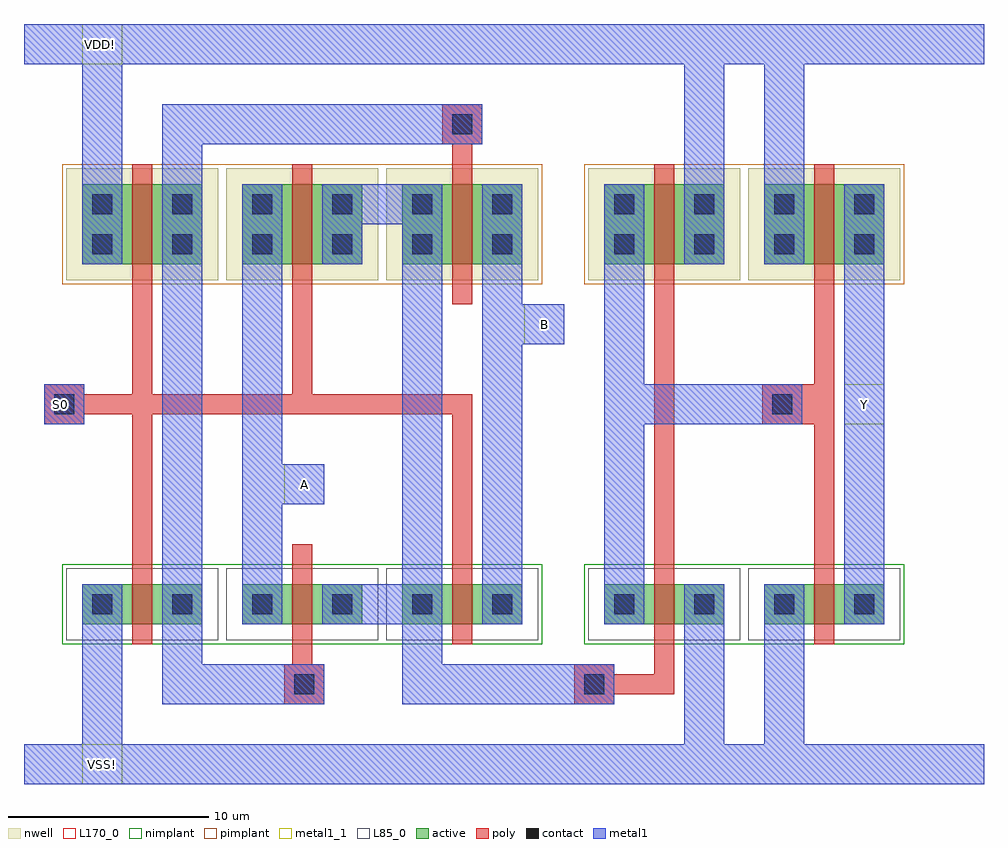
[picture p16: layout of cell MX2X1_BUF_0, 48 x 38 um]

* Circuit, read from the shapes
.subckt MX2X1_BUF_0 A B S0 VDD! VSS! Y
M1 n1 S0 VSS! VSUBS nfet w=2u l=1u
M2 n2 n1 A VSUBS nfet w=2u l=1u
M3 B S0 n2 VSUBS nfet w=2u l=1u
M4 VSS! n2 n3 VSUBS nfet w=2u l=1u
M5 Y n3 VSS! VSUBS nfet w=2u l=1u
M6 n1 S0 VDD! n4 pfet w=4u l=1u
M7 n2 S0 A n5 pfet w=4u l=1u
M8 B n1 n2 n6 pfet w=4u l=1u
M9 VDD! n2 n3 n7 pfet w=4u l=1u
M10 Y n3 VDD! n8 pfet w=4u l=1u
.ends

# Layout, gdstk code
from math import pi, radians
import gdstk
lib = gdstk.Library(unit=1e-6, precision=5e-10)
def R(c, l, rs):  # rectangles x0, y0, x1, y1
    for r in rs: c.add(gdstk.rectangle(r[:2], r[2:], *l))
active = (1, 0)
nwell = (2, 0)
poly = (3, 0)
nimplant = (4, 0)
pimplant = (5, 0)
contact = (6, 0)
metal1 = (7, 0)
metal1_1 = (7, 1)
L85_0 = (85, 0)
L170_0 = (170, 0)

nmos3_cdns_641374622490 = lib.new_cell('nmos3_CDNS_641374622490')
R(nmos3_cdns_641374622490, active, [(1,1,7,3)])
R(nmos3_cdns_641374622490, poly, [(3.5,0,4.5,5), (3.6,3.5,4.4,3.9)])
R(nmos3_cdns_641374622490, nimplant, [(0,0,8,4)])
R(nmos3_cdns_641374622490, contact, [(1.5,1.5,2.5,2.5), (5.5,1.5,6.5,2.5), (5.5,1.5,6.5,2.5)])
R(nmos3_cdns_641374622490, metal1, [(1,1,3,3), (5,1,7,3), (1.3,1.3,2.7,2.7), (5.3,1.3,6.7,2.7)])
R(nmos3_cdns_641374622490, L85_0, [(0.2,0.2,7.8,3.8)])
R(nmos3_cdns_641374622490, L170_0, [(4.5,1,7,3)])

pmos3_cdns_641374622492 = lib.new_cell('pmos3_CDNS_641374622492')
R(pmos3_cdns_641374622492, active, [(1,1,7,5)])
R(pmos3_cdns_641374622492, nwell, [(0.2,0.2,7.8,5.8)])
R(pmos3_cdns_641374622492, poly, [(3.5,0,4.5,7), (3.6,5.6,4.4,5.9)])
R(pmos3_cdns_641374622492, pimplant, [(0,0,8,6)])
R(pmos3_cdns_641374622492, contact, [(1.5,1.5,2.5,2.5), (5.5,1.5,6.5,2.5), (5.5,1.5,6.5,2.5), (1.5,3.5,2.5,4.5), (5.5,3.5,6.5,4.5)])
R(pmos3_cdns_641374622492, metal1, [(1,1,3,5), (5,1,7,5), (1.3,1.3,2.7,2.7), (5.3,1.3,6.7,2.7)])
R(pmos3_cdns_641374622492, L170_0, [(4.5,1,7,5)])

m1_po_cdns_641374622490 = lib.new_cell('M1_PO_CDNS_641374622490')
R(m1_po_cdns_641374622490, poly, [(-1,-1,1,1)])
R(m1_po_cdns_641374622490, contact, [(-0.5,-0.5,0.5,0.5)])
R(m1_po_cdns_641374622490, metal1, [(-1,-1,1,1)])

mx2x1_buf_0 = lib.new_cell('MX2X1_BUF_0')
R(mx2x1_buf_0, poly, [(38.1,17,39.6,19)])
R(mx2x1_buf_0, metal1, [(10.9,13,15,15), (22.9,21,27,23)])
R(mx2x1_buf_0, metal1_1, [(2.9,-1,4.9,1), (13,13,15,15), (1,17,3,19), (41,17,43,19), (25,21,27,23), (2.9,35,4.9,37)])
mx2x1_buf_0.add(gdstk.FlexPath([(40,24.4),(40,9.1)], 1, ends="flush", simple_path=True, layer=3, datatype=0))  # poly
mx2x1_buf_0.add(gdstk.FlexPath([(29,4),(32,4)], 1, ends=(0, 0.5), simple_path=True, layer=3, datatype=0))  # poly
mx2x1_buf_0.add(gdstk.FlexPath([(32,4),(32,24.8)], 1, ends=(0.5, 0), simple_path=True, layer=3, datatype=0))  # poly
mx2x1_buf_0.add(gdstk.FlexPath([(5.9,18),(5.9,24.6)], 1, ends="extended", simple_path=True, layer=3, datatype=0))  # poly
mx2x1_buf_0.add(gdstk.FlexPath([(21.9,32),(21.9,24.1)], 1, ends="flush", simple_path=True, layer=3, datatype=0))  # poly
mx2x1_buf_0.add(gdstk.FlexPath([(14,4),(13.9,4)], 1, ends=(0, 0.5), simple_path=True, layer=3, datatype=0))  # poly
mx2x1_buf_0.add(gdstk.FlexPath([(13.9,4),(13.9,9.9)], 1, ends=(0.5, 0), simple_path=True, layer=3, datatype=0))  # poly
mx2x1_buf_0.add(gdstk.FlexPath([(1.8,18),(5.9,18)], 1, ends="extended", simple_path=True, layer=3, datatype=0))  # poly
mx2x1_buf_0.add(gdstk.FlexPath([(13.9,24.4),(13.9,18)], 1, ends=(0, 0.5), simple_path=True, layer=3, datatype=0))  # poly
mx2x1_buf_0.add(gdstk.FlexPath([(21.9,18),(21.9,9.9)], 1, ends=(0.5, 0), simple_path=True, layer=3, datatype=0))  # poly
mx2x1_buf_0.add(gdstk.FlexPath([(13.9,18),(21.9,18)], 1, ends="extended", simple_path=True, layer=3, datatype=0))  # poly
mx2x1_buf_0.add(gdstk.FlexPath([(5.9,9.5),(5.9,18)], 1, ends=(0, 0.5), simple_path=True, layer=3, datatype=0))  # poly
mx2x1_buf_0.add(gdstk.FlexPath([(5.9,24.6),(5.5,24.6)], 1, ends=(0.5, 0), simple_path=True, layer=3, datatype=0))  # poly
mx2x1_buf_0.add(gdstk.FlexPath([(5.9,18),(13.9,18)], 1, ends="extended", simple_path=True, layer=3, datatype=0))  # poly
mx2x1_buf_0.add(gdstk.FlexPath([(19.9,4),(29.5,4)], 2, ends=(1, 0), simple_path=True, layer=7, datatype=0))  # metal1
mx2x1_buf_0.add(gdstk.FlexPath([(30,18),(37.9,18)], 2, ends=(1, 0), simple_path=True, layer=7, datatype=0))  # metal1
mx2x1_buf_0.add(gdstk.FlexPath([(30,18),(30,28.7)], 2, ends=(1, 0), simple_path=True, layer=7, datatype=0))  # metal1
mx2x1_buf_0.add(gdstk.FlexPath([(42,7.3),(42,28.7)], 2, ends="flush", simple_path=True, layer=7, datatype=0))  # metal1
mx2x1_buf_0.add(gdstk.FlexPath([(38,8.7),(38,0)], 2, ends=(0, 1), simple_path=True, layer=7, datatype=0))  # metal1
mx2x1_buf_0.add(gdstk.FlexPath([(38,27.3),(38,36)], 2, ends=(0, 1), simple_path=True, layer=7, datatype=0))  # metal1
mx2x1_buf_0.add(gdstk.FlexPath([(30,7.3),(30,18)], 2, ends=(0, 1), simple_path=True, layer=7, datatype=0))  # metal1
mx2x1_buf_0.add(gdstk.FlexPath([(34,8.7),(34,0)], 2, ends=(0, 1), simple_path=True, layer=7, datatype=0))  # metal1
mx2x1_buf_0.add(gdstk.FlexPath([(19.9,8),(19.9,4)], 2, ends="extended", simple_path=True, layer=7, datatype=0))  # metal1
mx2x1_buf_0.add(gdstk.FlexPath([(34,27.3),(34,36)], 2, ends=(0, 1), simple_path=True, layer=7, datatype=0))  # metal1
mx2x1_buf_0.add(gdstk.FlexPath([(23.9,7.3),(23.9,28.7)], 2, ends="flush", simple_path=True, layer=7, datatype=0))  # metal1
mx2x1_buf_0.add(gdstk.FlexPath([(19.9,28),(20.6,28)], 2, ends=(1, 0), simple_path=True, layer=7, datatype=0))  # metal1
mx2x1_buf_0.add(gdstk.FlexPath([(15.2,8),(20.6,8)], 2, ends="flush", simple_path=True, layer=7, datatype=0))  # metal1
mx2x1_buf_0.add(gdstk.FlexPath([(19.9,28),(19.9,28.7)], 2, ends=(1, 0), simple_path=True, layer=7, datatype=0))  # metal1
mx2x1_buf_0.add(gdstk.FlexPath([(19.9,8),(19.9,28)], 2, ends=(0, 1), simple_path=True, layer=7, datatype=0))  # metal1
mx2x1_buf_0.add(gdstk.FlexPath([(7.9,32),(21.9,32)], 2, ends=(1, 0), simple_path=True, layer=7, datatype=0))  # metal1
mx2x1_buf_0.add(gdstk.FlexPath([(7.9,27.3),(7.9,32)], 2, ends=(0, 1), simple_path=True, layer=7, datatype=0))  # metal1
mx2x1_buf_0.add(gdstk.FlexPath([(7.9,4),(14,4)], 2, ends=(1, 0), simple_path=True, layer=7, datatype=0))  # metal1
mx2x1_buf_0.add(gdstk.FlexPath([(7.9,8.7),(7.9,4)], 2, ends=(0, 1), simple_path=True, layer=7, datatype=0))  # metal1
mx2x1_buf_0.add(gdstk.FlexPath([(15.2,28),(19.9,28)], 2, ends=(0, 1), simple_path=True, layer=7, datatype=0))  # metal1
mx2x1_buf_0.add(gdstk.FlexPath([(11.9,28.7),(11.9,7.3)], 2, ends="flush", simple_path=True, layer=7, datatype=0))  # metal1
mx2x1_buf_0.add(gdstk.FlexPath([(7.9,7.3),(7.9,28.7)], 2, ends="flush", simple_path=True, layer=7, datatype=0))  # metal1
mx2x1_buf_0.add(gdstk.FlexPath([(0,36),(3.9,36)], 2, ends=(0, 1), simple_path=True, layer=7, datatype=0))  # metal1
mx2x1_buf_0.add(gdstk.FlexPath([(3.9,27.3),(3.9,36)], 2, ends=(0, 1), simple_path=True, layer=7, datatype=0))  # metal1
mx2x1_buf_0.add(gdstk.FlexPath([(0,0),(3.9,0)], 2, ends=(0, 1), simple_path=True, layer=7, datatype=0))  # metal1
mx2x1_buf_0.add(gdstk.FlexPath([(3.9,8.7),(3.9,0)], 2, ends=(0, 1), simple_path=True, layer=7, datatype=0))  # metal1
mx2x1_buf_0.add(gdstk.FlexPath([(3.9,0),(48,0)], 2, ends=(1, 0), simple_path=True, layer=7, datatype=0))  # metal1
mx2x1_buf_0.add(gdstk.FlexPath([(3.9,36),(48,36)], 2, ends=(1, 0), simple_path=True, layer=7, datatype=0))  # metal1
mx2x1_buf_0.add(gdstk.Reference(nmos3_cdns_641374622490, (44,6), rotation=pi, x_reflection=True))
mx2x1_buf_0.add(gdstk.Reference(nmos3_cdns_641374622490, (28,6)))
mx2x1_buf_0.add(gdstk.Reference(nmos3_cdns_641374622490, (17.9,6)))
mx2x1_buf_0.add(gdstk.Reference(nmos3_cdns_641374622490, (17.9,6), rotation=pi, x_reflection=True))
mx2x1_buf_0.add(gdstk.Reference(nmos3_cdns_641374622490, (9.9,6), rotation=pi, x_reflection=True))
mx2x1_buf_0.add(gdstk.Reference(pmos3_cdns_641374622492, (44,30), rotation=pi))
mx2x1_buf_0.add(gdstk.Reference(pmos3_cdns_641374622492, (28,30), x_reflection=True))
mx2x1_buf_0.add(gdstk.Reference(pmos3_cdns_641374622492, (17.9,30), x_reflection=True))
mx2x1_buf_0.add(gdstk.Reference(pmos3_cdns_641374622492, (17.9,30), rotation=pi))
mx2x1_buf_0.add(gdstk.Reference(pmos3_cdns_641374622492, (9.9,30), rotation=pi))
mx2x1_buf_0.add(gdstk.Reference(m1_po_cdns_641374622490, (28.5,4)))
mx2x1_buf_0.add(gdstk.Reference(m1_po_cdns_641374622490, (37.9,18)))
mx2x1_buf_0.add(gdstk.Reference(m1_po_cdns_641374622490, (2,18)))
mx2x1_buf_0.add(gdstk.Reference(m1_po_cdns_641374622490, (21.9,32)))
mx2x1_buf_0.add(gdstk.Reference(m1_po_cdns_641374622490, (14,4)))
mx2x1_buf_0.add(gdstk.Label('VSS!', (3.9,0), layer=7, texttype=3))
mx2x1_buf_0.add(gdstk.Label('Y', (42,18), layer=7, texttype=3))
mx2x1_buf_0.add(gdstk.Label('B', (26,22), layer=7, texttype=3))
mx2x1_buf_0.add(gdstk.Label('A', (14,14), layer=7, texttype=3))
mx2x1_buf_0.add(gdstk.Label('S0', (1.8,18), layer=7, texttype=3))
mx2x1_buf_0.add(gdstk.Label('VDD!', (3.8,36), layer=7, texttype=3))
mx2x1_buf_0.add(gdstk.Label('VDD!', (3.9,36), layer=7, texttype=3))
mx2x1_buf_0.add(gdstk.Label('VDD!', (3.9,36), layer=7, texttype=3))

lib.write_gds('MX2X1_BUF_0.gds')
